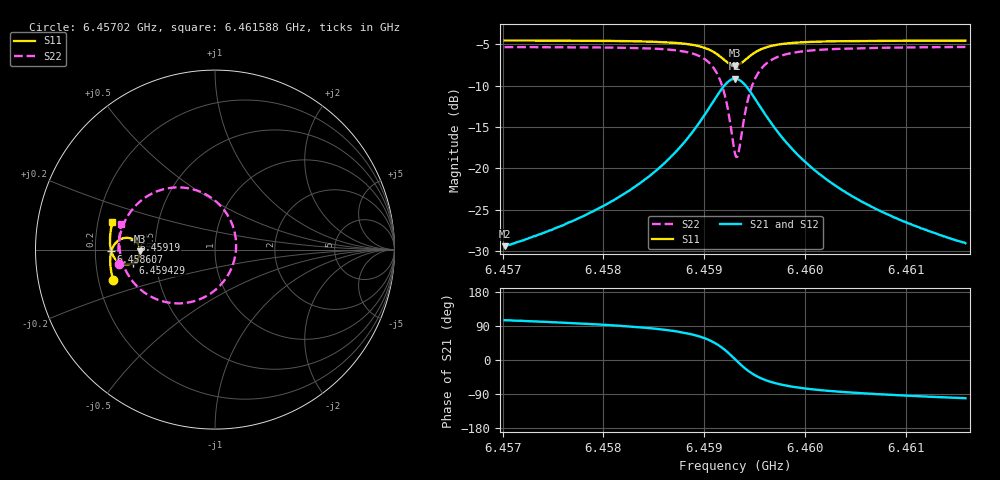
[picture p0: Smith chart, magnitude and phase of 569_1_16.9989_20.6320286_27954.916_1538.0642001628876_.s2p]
#  HZ  S  RI  R  50.00
! Rohde & Schwarz Vector Network Analyzer
! Rohde-Schwarz,ZNB20-2Port,1311601062101988,3.16
! Created: UTC 3/20/2024, 11:17:38 PM
! freq[Hz]  re:S11  im:S11  re:S21  im:S21  re:S12  im:S12  re:S22  im:S22
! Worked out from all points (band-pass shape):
!   401 points, 6.45702 GHz to 6.461588 GHz, reference 50 ohm
!   highest |S21| = -9.16 dB at 6.459304 GHz (marker M1); lowest = -29.4 dB at 6.45702 GHz (marker M2)
!   |S21| within 3 dB of the highest: 6.459076 GHz to 6.459533 GHz (456.8 kHz wide, 0.00707 % of centre)
!   lowest |S11| = -7.6 dB at 6.459304 GHz (marker M3), VSWR 2.43, Z = 20.6 - j0.428 ohm
!   |S11| at or under -10 dB: nowhere
!   |S22| runs from -18.6 to -5.3 dB; largest |S21 - S12| = 0.014
!   S11 on the Smith chart (normalised r, x): 6.45702 GHz: 0.26, -0.14; 6.458607 GHz: 0.27, -0.01; 6.45919 GHz: 0.37, +0.05; 6.459429 GHz: 0.37, -0.07; 6.461588 GHz: 0.26, +0.12
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6.4570196e9  -0.5676 -0.169  -0.00876 0.0328  -0.00703 0.0327  -0.5337 -0.0809
6.4577848e9  -0.5811 -0.1018  -0.00547 0.0508  -0.00278 0.0502  -0.5385 0.00941
6.4582074e9  -0.5838 -0.0593  0.00076 0.0704  0.00401 0.069  -0.5298 0.0769
6.45855e9  -0.5798 -0.0182  0.0149 0.0993  0.0188 0.0967  -0.5037 0.1545
6.4586071e9  -0.578 -0.0104  0.0192 0.1063  0.0233 0.1032  -0.4955 0.1712
6.4588127e9  -0.5648 0.0219  0.0471 0.1389  0.0511 0.1338  -0.4431 0.2441
6.4589612e9  -0.5419 0.0479  0.0928 0.1694  0.096 0.1626  -0.3586 0.3084
6.4590982e9  -0.4977 0.0654  0.1806 0.1856  0.1815 0.1783  -0.198 0.3466
6.4591896e9  -0.453 0.0549  0.271 0.1541  0.2713 0.1482  -0.0304 0.2953
6.4592581e9  -0.4238 0.0226  0.3317 0.0816  0.3339 0.0763  0.0859 0.1642
6.4593038e9  -0.4169 -0.0086  0.3481 0.0131  0.3519 0.00615  0.1177 0.036
6.4593266e9  -0.4187 -0.0248  0.3457 -0.0227  0.3499 -0.0309  0.1133 -0.0315
6.4593381e9  -0.4209 -0.0325  0.3421 -0.0398  0.346 -0.049  0.1059 -0.0644
6.4593837e9  -0.4365 -0.0587  0.3132 -0.0999  0.3154 -0.1121  0.0473 -0.1784
6.4594294e9  -0.4588 -0.0752  0.2706 -0.1413  0.2699 -0.1548  -0.0388 -0.2539
6.4595208e9  -0.5024 -0.0822  0.185 -0.1725  0.1788 -0.1843  -0.2096 -0.2997
6.4596693e9  -0.5465 -0.0616  0.0966 -0.1583  0.0879 -0.1646  -0.3787 -0.2493
6.4598292e9  -0.5682 -0.0338  0.0513 -0.1298  0.0436 -0.1327  -0.4596 -0.1763
6.460069e9  -0.5809 0.00175  0.0222 -0.0981  0.0163 -0.0986  -0.5076 -0.0928
6.4604345e9  -0.5855 0.0451  0.0055 -0.0696  0.00154 -0.0692  -0.5296 -0.0091
6.4608342e9  -0.5835 0.0853  -0.00152 -0.0523  -0.00451 -0.0514  -0.533 0.055
6.461588e9  -0.5713 0.1522  -0.00663 -0.0348  -0.00837 -0.0339  -0.5216 0.1446
